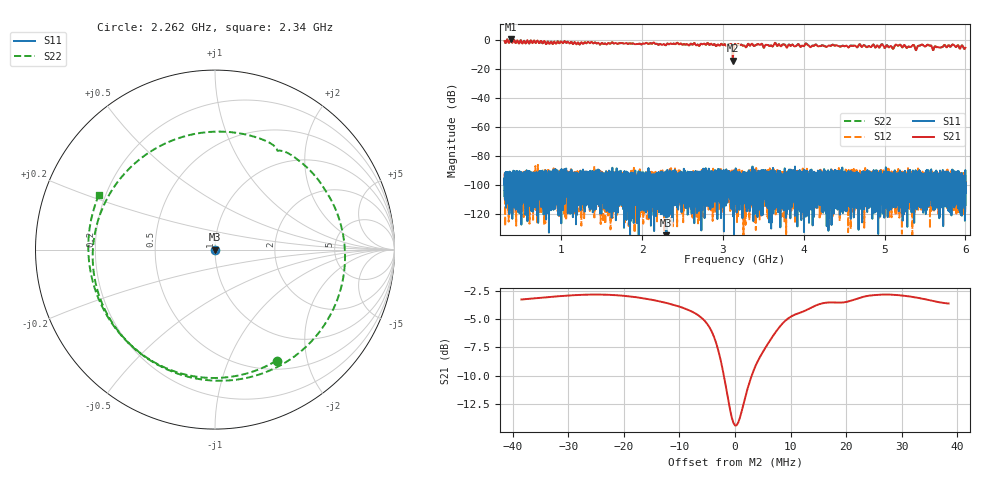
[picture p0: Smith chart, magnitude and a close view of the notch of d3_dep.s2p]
!Agilent Technologies,N5230C,SG49000117,A.08.50.07
!Agilent N5230C: A.08.50.07
!Date: Sunday, March 17, 2024 07:02:07
!Correction: S11(Off)
!S21(Off)
!S12(Off)
!S22(Off)
!S2P File: Measurements: S11, S21, S12, S22:
# Hz S  RI  R 50
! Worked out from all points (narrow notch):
!   20001 points, 300 MHz to 6 GHz, reference 50 ohm
!   highest |S21| = 0.47 dB at 374.4 MHz (marker M1); lowest = -14.4 dB at 3.123 GHz (marker M2)
!   notch at M2: 11.0 dB deep, 6.42 MHz wide at half that depth
!   lowest |S11| = -139.7 dB at 2.301 GHz (marker M3), VSWR 1.00, Z = 50 + j5.97e-06 ohm
!   |S11| at or under -10 dB: start of sweep to end of sweep
!   |S22| runs from -14.4 to 0.5 dB; largest |S21 - S12| = 1.1
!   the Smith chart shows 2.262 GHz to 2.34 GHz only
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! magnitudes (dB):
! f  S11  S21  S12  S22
! 300 MHz  -95.8  -0.9  -91.7  -0.8
! 374.4 MHz  -113.4  0.5  -101.7  0.5
! 1.25 GHz  -101.8  -1.7  -103.2  -1.7
! 2.2 GHz  -102.1  -3.4  -93.5  -3.4
! 2.301 GHz  -139.7  -3.2  -110.1  -3.3
! 3.083 GHz  -101.3  -3.3  -90.4  -3.3
! 3.123 GHz  -101.2  -14.4  -100.5  -14.4
! 3.15 GHz  -93.5  -2.8  -95.7  -2.8
! 3.169 GHz  -91.1  -3.7  -91.6  -3.7
! 3.271 GHz  -101.4  -4.2  -103.9  -4.1
! 3.458 GHz  -105.3  -3.5  -99.9  -3.5
! 3.977 GHz  -104.8  -4.0  -93.8  -3.9
! 4.037 GHz  -108.9  -2.9  -98.2  -2.8
! 4.1 GHz  -100.2  -4.3  -100.6  -4.2
! 5.05 GHz  -105.4  -5.1  -89.0  -5.1
! 5.167 GHz  -111.7  -4.1  -99.9  -4.0
! 5.397 GHz  -106.5  -6.2  -106.7  -6.2
! 5.445 GHz  -107.9  -3.7  -108.5  -3.7
! 5.548 GHz  -101.0  -3.8  -112.6  -3.8
! 5.614 GHz  -98.1  -5.3  -104.9  -5.3
! 5.847 GHz  -99.0  -3.3  -99.5  -3.4
! 6 GHz  -105.6  -5.5  -96.7  -5.5
